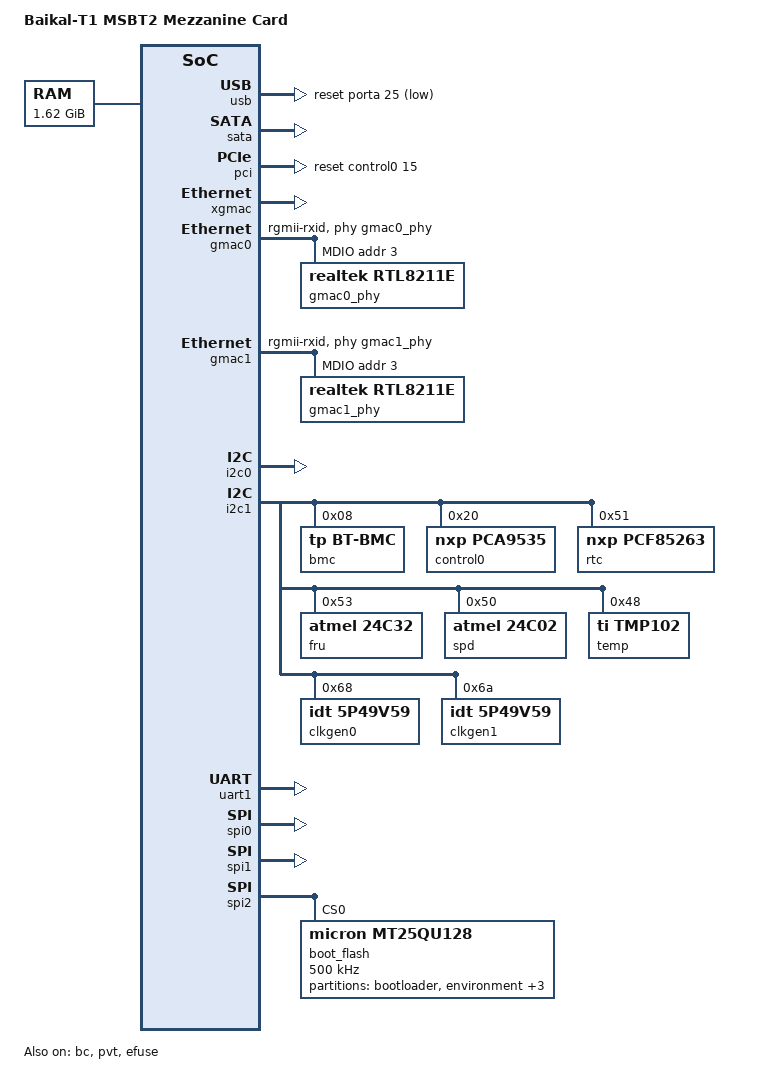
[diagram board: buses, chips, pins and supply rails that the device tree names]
/*
 * Baikal-T1 MSBT2 board device tree
 *
 * Copyright (C) 2017-2018 T-platforms JSC
 *
 * This program is free software; you can redistribute it and/or
 * modify it under the terms of the GNU General Public License
 * as published by the Free Software Foundation; either version 2
 * of the License, or (at your option) any later version.
 */

#include <dt-bindings/interrupt-controller/mips-gic.h>
#include <dt-bindings/gpio/gpio.h>

#include "baikal_t1_soc.dtsi"
#include "baikal_mdio.dtsi"

/ {
	model = "Baikal-T1 MSBT2 Mezzanine Card";
	compatible = "baikal,mips", "baikal,baikal-t1-soc", "tplatforms,baikal-msbt2-card";

	chosen {
		bootargs = "root=/dev/ram rw console=ttyS0,115200 earlyprintk=uart8250,mmio32,0x1F04A000,115200 nohtw";
		linux,initrd-start = <0 0x01000000>;
		linux,initrd-end   = <0 0x02000000>;
	};

	memory {
		device_type = "memory";
		reg = <0 0x00000000 0 0x08000000>,
		      <0 0x20000000 0 0x60000000>;
	};
};

&usb {
	status = "okay";

	reset-gpio = <&porta 25 GPIO_ACTIVE_LOW>;
};

&sata {
	status = "okay";
};

&pci {
	status = "okay";

	/* Deassert downstream devices reset pin */
	reset-gpio = <&control0 15 GPIO_ACTIVE_HIGH>;
};

&xgmac {
	status = "okay";
};

&gmac0 {
	status = "okay";
	phy-mode = "rgmii-rxid";
	phy-handle = <&gmac0_phy>;
	snps,reset-gp-out;
	snps,reset-active-low;
	snps,reset-delays-us = <0 11000 31000>;

	gmdio0: gmac0_mdio {
		compatible = "snps,dwmac-mdio";
		#address-cells = <1>;
		#size-cells = <0>;

		gmac0_phy: ethernet-phy@3 {
			compatible = "realtek,rtl8211e", "ethernet-phy-id001c.c915";
			reg = <0x3>;
		};
	};
};

&gmac1 {
	status = "okay";
	phy-mode = "rgmii-rxid";
	phy-handle = <&gmac1_phy>;
	snps,reset-gp-out;
	snps,reset-active-low;
	snps,reset-delays-us = <0 11000 31000>;

	gmdio1: gmac1_mdio {
		compatible = "snps,dwmac-mdio";
		#address-cells = <1>;
		#size-cells = <0>;

		gmac1_phy: ethernet-phy@3 {
			compatible = "realtek,rtl8211e", "ethernet-phy-id001c.c915";
			reg = <0x3>;
		};
	};
};

&gpio {
	status = "okay";
};

&gpio3 {
	status = "okay";
};

&bc {
	status = "okay";
};

&i2c0 {
	status = "okay";
};

&i2c1 {
	status = "okay";

	bmc: bmc@8 {
		compatible = "tp,bt-bmc";
		reg = <0x08>;
	};

	control0: gpioexp@20 {
		compatible = "nxp,pca9535";
		reg = <0x20>;
		gpio-controller;
		#gpio-cells = <2>;
		/* FIXME: DNP at the moment */
		/*interrupt-parent = <&porta>;
		interrupts = <29 IRQ_TYPE_LEVEL_LOW>;
		interrupt-controller;
		#interrupt-cells = <2>;*/
		ngpios = <16>; /* Informative */
	};

	rtc: rtc@51 {
		compatible = "nxp,pcf85263";
		reg = <0x51>;
	};

	fru: eeprom@53 {
		compatible = "atmel,24c32";
		reg = <0x53>;
		pagesize = <32>;
	};

	spd: eeprom@50 {
		compatible = "atmel,24c02";
		reg = <0x50>;
		pagesize = <8>;
	};

	temp: tmp102@48 {
		compatible = "ti,tmp102";
		reg = <0x48>;
	};

	clkgen0: clkgen@68 {
		compatible = "idt,5p49v59";
		reg = <0x68>;
	};

	clkgen1: clkgen@6A {
		compatible = "idt,5p49v59";
		reg = <0x6A>;
	};
};

&uart1 {
	status = "okay";
};

&spi0 {
	status = "okay";
	num-cs = <4>;
};

&spi1 {
	status = "okay";
	num-cs = <4>;
};

&spi2 {
	status = "okay";
	num-cs = <1>;

	boot_flash: mt25qu128@0 {
		#address-cells = <1>;
		#size-cells = <1>;
		compatible = "micron,mt25qu128", "jedec,spi-nor";
		reg = <0>;
		spi-max-frequency = <500000>;
		m25p,fast-read;

		partition@0 {
			label = "bootloader";
			reg = <0x0 0xE0000>;
			read-only;
		};

		partition@1 {
			label = "environment";
			reg = <0xE0000 0x10000>;
		};

		partition@2 {
			label = "information";
			reg = <0xF0000 0x10000>;
			read-only;
		};

		partition@3 {
			label = "multiimage";
			reg = <0x100000 0xF00000>;
			read-only;
		};

		partition@4 {
			label = "firmware";
			reg = <0x0 0x1000000>;
		};
	};
};

&pvt {
	status = "okay";
};

&efuse {
	status = "okay";
};
